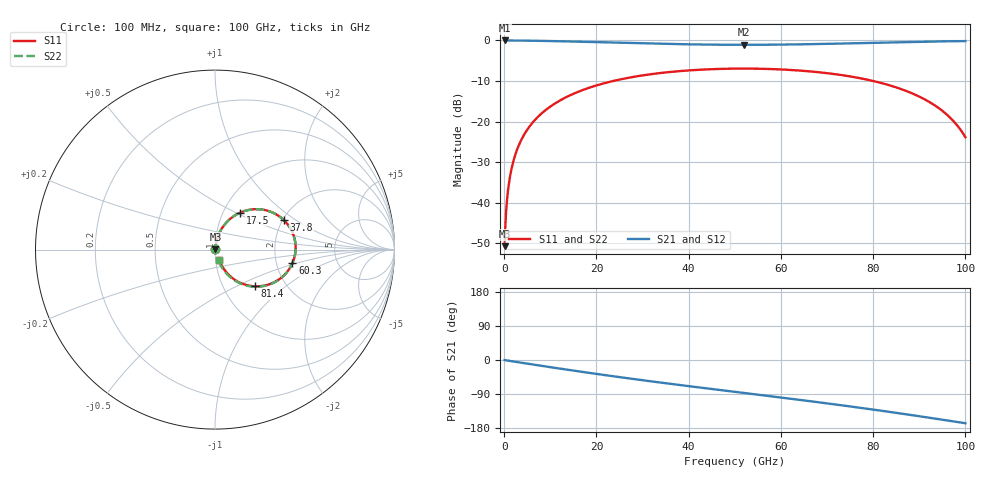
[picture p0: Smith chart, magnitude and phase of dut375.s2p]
! Touchstone file exported from HFSS 2026.1.0
!  File:  C:/ffzhzh/LocalFiles/Ansys_Project_Files/temp_train_RDL_375_1783503620_55944.aedt
!  Generated:  05:41:44 PM Jul  8, 2026
!  Design:  RDL
!  Project:  temp_train_RDL_375_1783503620_55944
! Variables:
!  h_bsmrdl = 2um
!  h_ox = 20um
!  h_rdl = 5um
!  h_sub = 80um
!  h_tmrdl = 3.32um
!  h_tsv = 80um
!  h_via = 3um
!  l_bsmrdl = 300um
!  l_sub = 951.99um
!  l_tmrdl = 551.99um
!  m_sub = 200um
!  pitch = 51.83um
!  r_tsv = 6um
!  s_tmrdl = 10um
!  w_bsmrdl = 18um
!  w_sub = 500um
!  w_tmrdl = 30um
!  x_tsv_center1 = 566.99um
!  x_tsv_center2 = 884.99um
!  x_tsv_center3 = 1466.98um
!  x_tsv_center4 = 1784.98um
!  x_tsv_center5 = 2366.97um
!  x_tsv_center6 = 2684.97um
# GHz S MA R 50.000000
! Terminal data exported
! Port[1] = TM_RDL1_1_T1
! Port[2] = TM_RDL1_1_T2
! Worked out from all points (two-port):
!   1000 points, 100 MHz to 100 GHz, reference 50 ohm
!   highest |S21| = -0.02 dB at 100 MHz (marker M1); lowest = -1.1 dB at 52 GHz (marker M2)
!   |S21| within 3 dB of the highest: start of sweep to end of sweep
!   lowest |S11| = -50.7 dB at 100 MHz (marker M3), VSWR 1.01, Z = 50.2 + j0.188 ohm
!   |S11| at or under -10 dB: start of sweep to 23.64 GHz; 80.01 GHz to end of sweep
!   |S22| runs from -50.7 to -6.9 dB; largest |S21 - S12| = 1.8e-14
!   S11 on the Smith chart (normalised r, x): 100 MHz: 1.00, +0.00; 17.5 GHz: 1.20, +0.53; 37.8 GHz: 2.03, +0.81; 60.3 GHz: 2.46, -0.46; 81.4 GHz: 1.41, -0.63; 100 GHz: 1.04, -0.12
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0.1  0.002925 39.8  0.9978 -0.2  0.9978 -0.2  0.002925 39.8
! Gamma 0 0 0 0
! Port Impedance 50 0 50 0
0.9  0.01514 76.7  0.9969 -1.8  0.9969 -1.8  0.01514 76.7
1.5  0.02458 79.6  0.9965 -2.9  0.9965 -2.9  0.02458 79.6
2.6  0.04199 80.1  0.9955 -5.0  0.9955 -5.0  0.04199 80.1
4.1  0.06552 78.5  0.9937 -7.9  0.9937 -7.9  0.06552 78.5
6.2  0.09767 75.1  0.99 -11.8  0.99 -11.8  0.09767 75.1
9  0.1388 70.3  0.9839 -17.1  0.9839 -17.1  0.1388 70.3
16.8  0.2419 56.8  0.9614 -31.1  0.9614 -31.1  0.2419 56.8
17.5  0.2502 55.6  0.9592 -32.4  0.9592 -32.4  0.2502 55.6
24.7  0.3263 43.7  0.9352 -44.7  0.9352 -44.7  0.3263 43.6
33.4  0.3935 29.9  0.9087 -58.8  0.9087 -58.8  0.3935 29.8
37.8  0.4173 23.2  0.898 -65.6  0.898 -65.6  0.4173 23.1
50.1  0.449 5.0  0.8825 -84.2  0.8825 -84.2  0.449 4.8
52  0.4495 2.2  0.8822 -87.0  0.8822 -87.0  0.4495 2.1
60.3  0.4379 -10.0  0.8876 -99.4  0.8876 -99.4  0.4379 -10.2
66.7  0.4132 -19.5  0.8986 -109.2  0.8986 -109.2  0.4132 -19.8
81.4  0.3025 -42.6  0.9388 -133.2  0.9388 -133.2  0.3024 -43.2
83.4  0.2815 -45.8  0.9448 -136.7  0.9448 -136.7  0.2814 -46.5
89  0.2158 -54.9  0.9605 -146.6  0.9605 -146.6  0.2157 -55.9
93.5  0.1565 -61.8  0.9706 -154.8  0.9706 -154.8  0.1563 -63.4
97  0.1074 -66.3  0.9763 -161.2  0.9763 -161.2  0.1071 -68.7
100  0.06412 -67.6  0.9794 -166.9  0.9794 -166.9  0.06348 -71.9
